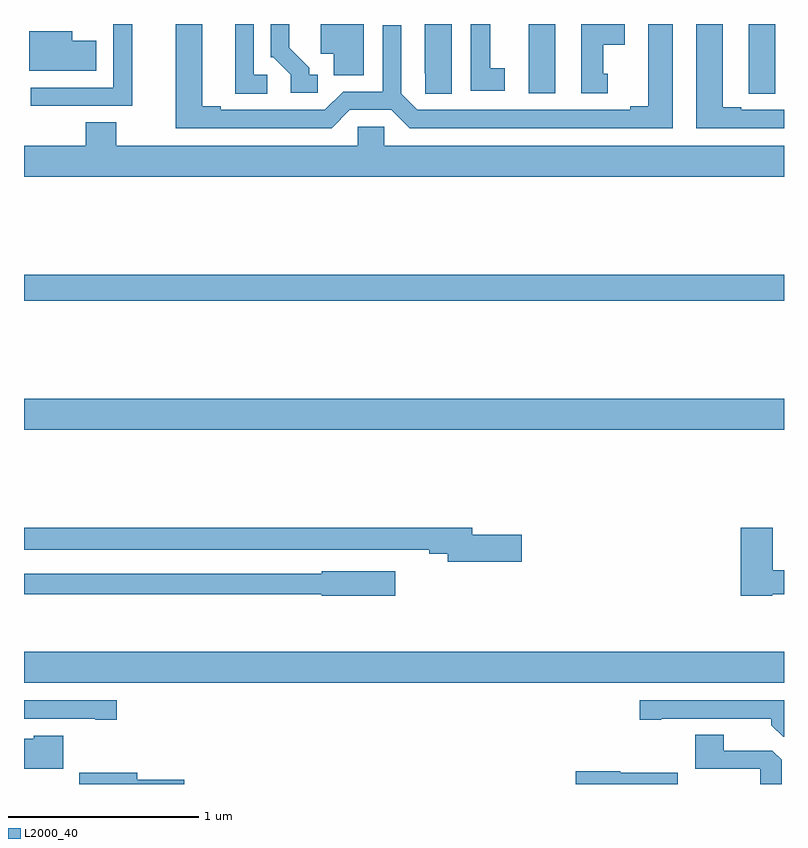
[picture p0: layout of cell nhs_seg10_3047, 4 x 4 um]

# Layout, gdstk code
import gdstk
lib = gdstk.Library(unit=1e-6, precision=1e-09)
def R(c, l, rs):  # rectangles x0, y0, x1, y1
    for r in rs: c.add(gdstk.rectangle(r[:2], r[2:], *l))
def P(c, l, *ps):  # polygons
    for p in ps: c.add(gdstk.Polygon(p, *l))
L2000_40 = (2000, 40)

nhs_seg10_3047 = lib.new_cell('nhs_seg10_3047')
R(nhs_seg10_3047, L2000_40, [(277,1251.032,281,1251.196), (277,1252.364,281,1252.528), (277,1253.044,281,1253.18), (279.656,1254.135,279.796,1254.5)])
P(nhs_seg10_3047, L2000_40, [(278.715,1254.048),(278.933,1254.048),(279.029,1253.952),(280.414,1253.952),(280.414,1254.5),(280.286,1254.5),(280.286,1254.068),(280.19,1254.068),(280.19,1254.048),(279.069,1254.048),(278.985,1254.132),(278.985,1254.493),(278.889,1254.493),(278.889,1254.144),(278.679,1254.144),(278.583,1254.048),(278.035,1254.048),(278.035,1254.068),(277.939,1254.068),(277.939,1254.5),(277.799,1254.5),(277.799,1253.952),(278.619,1253.952)],
  [(281,1254.048),(280.774,1254.048),(280.774,1254.063),(280.678,1254.063),(280.678,1254.5),(280.538,1254.5),(280.538,1253.952),(281,1253.952)],
  [(278.281,1254.234),(278.208,1254.234),(278.208,1254.5),(278.111,1254.5),(278.111,1254.133),(278.281,1254.133)],
  [(280.072,1254.237),(280.048,1254.237),(280.048,1254.392),(280.162,1254.392),(280.162,1254.5),(279.932,1254.5),(279.932,1254.135),(280.072,1254.135)],
  [(278.788,1254.5),(278.561,1254.5),(278.561,1254.344),(278.63,1254.344),(278.63,1254.229),(278.788,1254.229)],
  [(278.545,1254.234),(278.5,1254.234),(278.5,1254.269),(278.395,1254.374),(278.395,1254.5),(278.298,1254.5),(278.298,1254.324),(278.313,1254.324),(278.403,1254.234),(278.403,1254.138),(278.545,1254.138)],
  [(279.529,1254.266),(279.454,1254.266),(279.454,1254.5),(279.35,1254.5),(279.35,1254.15),(279.529,1254.15)],
  [(279.25,1254.5),(279.11,1254.5),(279.11,1254.241),(279.111,1254.241),(279.111,1254.133),(279.25,1254.133)],
  [(280.954,1254.5),(280.814,1254.5),(280.814,1254.241),(280.815,1254.241),(280.815,1254.133),(280.954,1254.133)],
  [(277.569,1254.5),(277.47,1254.5),(277.47,1254.165),(277.035,1254.165),(277.035,1254.069),(277.569,1254.069)],
  [(277.381,1254.412),(277.255,1254.412),(277.255,1254.463),(277.028,1254.463),(277.028,1254.254),(277.381,1254.254)],
  [(281,1253.86),(278.895,1253.86),(278.895,1253.958),(278.757,1253.958),(278.757,1253.86),(277.485,1253.86),(277.485,1253.984),(277.325,1253.984),(277.325,1253.86),(277,1253.86),(277,1253.696),(281,1253.696)],
  [(280.938,1251.498),(281,1251.498),(281,1251.626),(280.942,1251.626),(280.942,1251.85),(280.772,1251.85),(280.772,1251.49),(280.938,1251.49)],
  [(279.619,1251.812),(279.358,1251.812),(279.358,1251.848),(277,1251.848),(277,1251.732),(279.134,1251.732),(279.134,1251.712),(279.23,1251.712),(279.23,1251.67),(279.619,1251.67)],
  [(278.953,1251.619),(278.568,1251.619),(278.568,1251.606),(277,1251.606),(277,1251.498),(278.568,1251.498),(278.568,1251.49),(278.953,1251.49)],
  [(277.489,1250.94),(277,1250.94),(277,1250.844),(277.376,1250.844),(277.376,1250.839),(277.489,1250.839)],
  [(281,1250.94),(280.242,1250.94),(280.242,1250.839),(280.354,1250.839),(280.354,1250.844),(280.934,1250.844),(280.934,1250.81),(280.995,1250.748),(281,1250.748)],
  [(280.987,1250.627),(280.938,1250.676),(280.684,1250.676),(280.684,1250.759),(280.532,1250.759),(280.532,1250.58),(280.875,1250.58),(280.875,1250.5),(280.987,1250.5)],
  [(277.207,1250.755),(277.05,1250.755),(277.05,1250.737),(277,1250.737),(277,1250.579),(277.207,1250.579)],
  [(280.441,1250.56),(280.137,1250.56),(280.137,1250.568),(279.903,1250.568),(279.903,1250.5),(280.441,1250.5)],
  [(277.843,1250.522),(277.597,1250.522),(277.597,1250.56),(277.29,1250.56),(277.29,1250.5),(277.843,1250.5)])

lib.write_gds('nhs_seg10_3047.gds')
